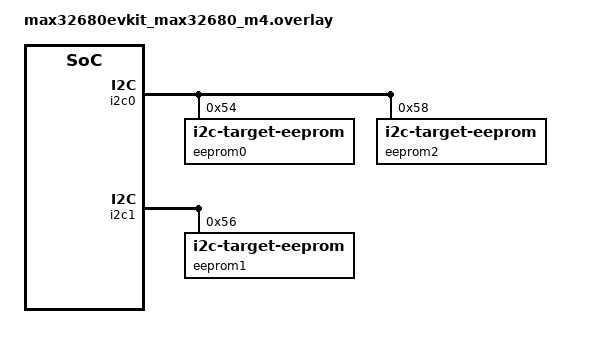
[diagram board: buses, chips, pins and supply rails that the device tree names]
/*
 * Copyright (c) 2024 Analog Devices, Inc.
 *
 * SPDX-License-Identifier: Apache-2.0
 */

&i2c0 {
	eeprom0: eeprom@54 {
		compatible = "zephyr,i2c-target-eeprom";
		reg = <0x54>;
		address-width = <16>;
		size = <1024>;
	};
	eeprom2: eeprom@58 {
		compatible = "zephyr,i2c-target-eeprom";
		reg = <0x58>;
		size = <4096>;
		address-width = <16>;
		read-only;
	};
};

&i2c1 {
	dmas = <&dma0 1 MAX32_DMA_SLOT_I2C1_TX>, <&dma0 2 MAX32_DMA_SLOT_I2C1_RX>;
	dma-names = "tx", "rx";

	eeprom1: eeprom@56 {
		compatible = "zephyr,i2c-target-eeprom";
		reg = <0x56>;
		address-width = <16>;
		size = <1024>;
	};
};
